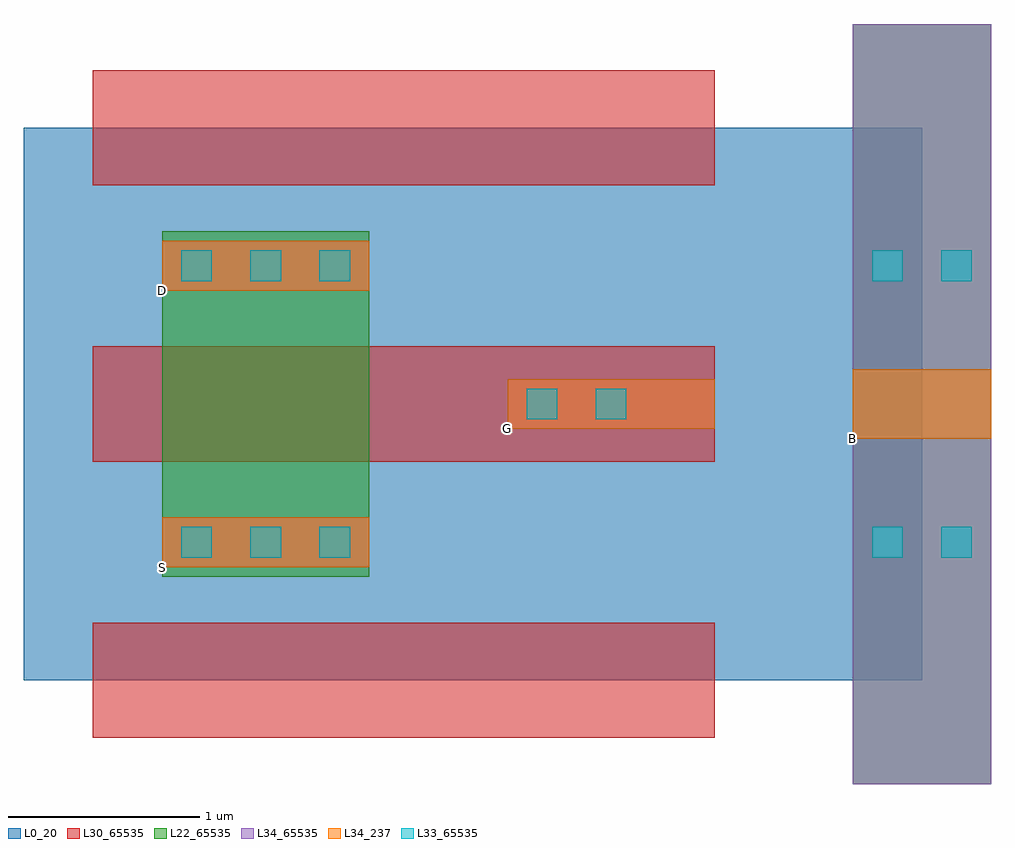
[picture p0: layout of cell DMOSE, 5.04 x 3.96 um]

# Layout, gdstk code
import gdstk
lib = gdstk.Library(unit=1e-6, precision=1e-09)
def R(c, l, rs):  # rectangles x0, y0, x1, y1
    for r in rs: c.add(gdstk.rectangle(r[:2], r[2:], *l))
def A(c, l, x, y, w, h, nx, ny, dx, dy):  # array of equal rectangles
    R(c, l, [(x+i*dx, y+j*dy, x+i*dx+w, y+j*dy+h) for i in range(nx) for j in range(ny)])
L0_20 = (0, 20)
L22_65535 = (22, 65535)
L30_65535 = (30, 65535)
L33_65535 = (33, 65535)
L34_237 = (34, 237)
L34_65535 = (34, 65535)

dmose = lib.new_cell('DMOSE')
R(dmose, L0_20, [(0,0,4.68,2.88)])
A(dmose, L22_65535, 4.32, -0.54, 0.72, 0.36, 1, 11, 0, 0.36)
A(dmose, L22_65535, 0.72, 0.54, 1.08, 0.36, 1, 5, 0, 0.36)
A(dmose, L30_65535, 0.36, -0.3, 3.24, 0.6, 1, 3, 0, 1.44)
A(dmose, L33_65535, 0.82, 0.64, 0.16, 0.16, 3, 2, 0.36, 1.44)
R(dmose, L33_65535, [(4.42,0.64,4.58,0.8), (4.78,0.64,4.94,0.8), (2.62,1.36,2.78,1.52), (2.98,1.36,3.14,1.52), (4.42,2.08,4.58,2.24), (4.78,2.08,4.94,2.24)])
R(dmose, L34_237, [(0.72,0.59,1.8,0.85), (4.32,1.26,5.04,1.62), (2.52,1.31,3.6,1.57), (0.72,2.03,1.8,2.29)])
A(dmose, L34_65535, 4.32, -0.54, 0.72, 0.36, 1, 11, 0, 0.36)
R(dmose, L34_65535, [(0.72,0.59,1.8,0.85), (2.52,1.31,3.6,1.57), (0.72,2.03,1.8,2.29)])
dmose.add(gdstk.Label('G', (2.52,1.31), layer=34, texttype=237))
dmose.add(gdstk.Label('S', (0.72,0.59), layer=34, texttype=237))
dmose.add(gdstk.Label('B', (4.32,1.26), layer=34, texttype=237))
dmose.add(gdstk.Label('D', (0.72,2.03), layer=34, texttype=237))

lib.write_gds('DMOSE.gds')
